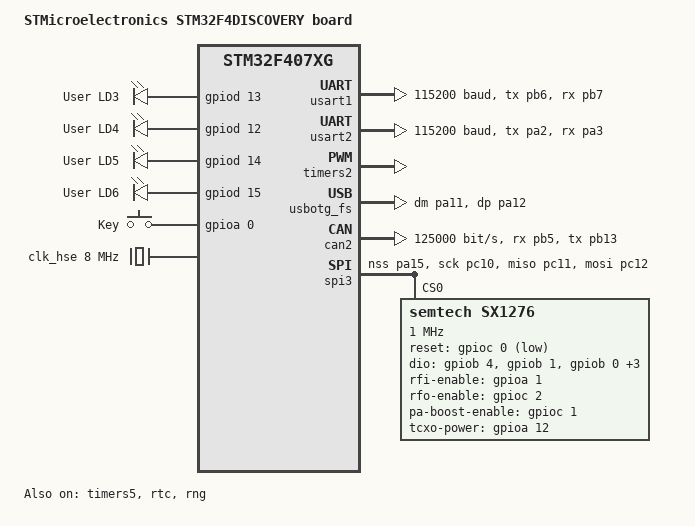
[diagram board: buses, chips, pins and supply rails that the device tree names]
/*
 * Copyright (c) 2017 Linaro Limited
 *
 * SPDX-License-Identifier: Apache-2.0
 */

/dts-v1/;
#include <st/f4/stm32f407Xg.dtsi>
#include <st/f4/stm32f407v(e-g)tx-pinctrl.dtsi>

/ {
	model = "STMicroelectronics STM32F4DISCOVERY board";
	compatible = "st,stm32f4discovery";

	chosen {
		zephyr,console = &usart1;
		zephyr,shell-uart = &usart1;
		zephyr,sram = &sram0;
		zephyr,flash = &flash0;
		zephyr,ccm = &ccm0;
		zephyr,canbus = &can2;
	};

	leds {
		compatible = "gpio-leds";
		orange_led_3: led_3 {
			gpios = <&gpiod 13 GPIO_ACTIVE_HIGH>;
			label = "User LD3";
		};
		green_led_4: led_4 {
			gpios = <&gpiod 12 GPIO_ACTIVE_HIGH>;
			label = "User LD4";
		};
		red_led_5: led_5 {
			gpios = <&gpiod 14 GPIO_ACTIVE_HIGH>;
			label = "User LD5";
		};
		blue_led_6: led_6 {
			gpios = <&gpiod 15 GPIO_ACTIVE_HIGH>;
			label = "User LD6";
		};
	};

	gpio_keys {
		compatible = "gpio-keys";
		user_button: button {
			label = "Key";
			gpios = <&gpioa 0 GPIO_ACTIVE_HIGH>;
		};
	};

	aliases {
		led0 = &green_led_4;
		led1 = &orange_led_3;
		led2 = &red_led_5;
		led3 = &blue_led_6;
		sw0 = &user_button;
                cnt5 = &counter5;
		lora0 = &lora;
	};
};

&usart1 {
	pinctrl-0 = <&usart1_tx_pb6 &usart1_rx_pb7>;
	pinctrl-names = "default";
	current-speed = <115200>;
	status = "okay";
};

&clk_lsi {
	status = "okay";
};

&clk_hse {
	clock-frequency = <DT_FREQ_M(8)>;
	status = "okay";
};

&pll {
	div-m = <8>;
	mul-n = <336>;
	div-p = <2>;
	div-q = <7>;
	clocks = <&clk_hse>;
	status = "okay";
};

&rcc {
	clocks = <&pll>;
	clock-frequency = <DT_FREQ_M(168)>;
	ahb-prescaler = <1>;
	apb1-prescaler = <4>;
	apb2-prescaler = <2>;
};

&usart2 {
	pinctrl-0 = <&usart2_tx_pa2 &usart2_rx_pa3>;
	pinctrl-names = "default";
	current-speed = <115200>;
	status = "okay";
};

&timers2 {
	status = "okay";

	pwm2: pwm {
		status = "okay";
		pinctrl-0 = <&tim2_ch1_pa0>;
		pinctrl-names = "default";
	};
};

&timers5 {
        status = "okay";
        //st,countermode = <STM32_TIM_COUNTERMODE_UP>;
	counter5: counter {
		status = "okay";
	};
};

&rtc {
	clocks = <&rcc STM32_CLOCK_BUS_APB1 0x10000000>,
		 <&rcc STM32_SRC_LSI RTC_SEL(2)>;
	status = "okay";

	backup_regs {
		status = "okay";
	};
};

zephyr_udc0: &usbotg_fs {
	pinctrl-0 = <&usb_otg_fs_dm_pa11 &usb_otg_fs_dp_pa12>;
	pinctrl-names = "default";
	status = "okay";
};

&can1 {
	pinctrl-0 = <&can1_rx_pb8 &can1_tx_pb9>;
	pinctrl-names = "default";
	bus-speed = <125000>;
	status = "disabled";
};

&can2 {
	pinctrl-0 = <&can2_rx_pb5 &can2_tx_pb13>;
	pinctrl-names = "default";
	bus-speed = <125000>;
	status = "okay";
};

/*
&i2c2 {
	pinctrl-0 = <&i2c2_scl_pb10 &i2c2_sda_pb11>;
	pinctrl-names = "default";
	status = "okay";
	clock-frequency = <I2C_BITRATE_FAST>;

	vl53l0x@29 {
		compatible = "st,vl53l0x";
		reg = <0x29>;
		xshut-gpios = <&gpioc 6 GPIO_ACTIVE_HIGH>;
	};
	
	mpu6050@68 {
                compatible = "invensense,mpu6050";
                reg = <0x68>;
                status = "okay";
                int-gpios = <&gpioc 13 GPIO_ACTIVE_HIGH>;
        };	
	
};
*/

&rng {
    status = "okay";
};
&spi3 {
        pinctrl-0 = <&spi3_nss_pa15 &spi3_sck_pc10
                     &spi3_miso_pc11 &spi3_mosi_pc12>;
        pinctrl-names = "default";
        status = "okay";
	
	lora: sx1276@0 {
      		compatible = "semtech,sx1276";
        	reg = <0>;
        	label = "sx1276";
        	reset-gpios = <&gpioc 0 GPIO_ACTIVE_LOW>;
		dio-gpios = <&gpiob 4 (GPIO_PULL_DOWN | GPIO_ACTIVE_HIGH)>,
            		<&gpiob 1 (GPIO_PULL_DOWN | GPIO_ACTIVE_HIGH)>,
            		<&gpiob 0 (GPIO_PULL_DOWN | GPIO_ACTIVE_HIGH)>,
            		<&gpioc 13 (GPIO_PULL_DOWN | GPIO_ACTIVE_HIGH)>,
            		<&gpioa 5 (GPIO_PULL_DOWN | GPIO_ACTIVE_HIGH)>,
            		<&gpioa 4 (GPIO_PULL_DOWN | GPIO_ACTIVE_HIGH)>;
        	rfi-enable-gpios = <&gpioa 1 GPIO_ACTIVE_HIGH>;
        	rfo-enable-gpios = <&gpioc 2 GPIO_ACTIVE_HIGH>;
        	pa-boost-enable-gpios = <&gpioc 1 GPIO_ACTIVE_HIGH>;
        	tcxo-power-gpios = <&gpioa 12 GPIO_ACTIVE_HIGH>;
		tcxo-power-startup-delay-ms = <5>;
        	spi-max-frequency = <1000000>;
	};

};
